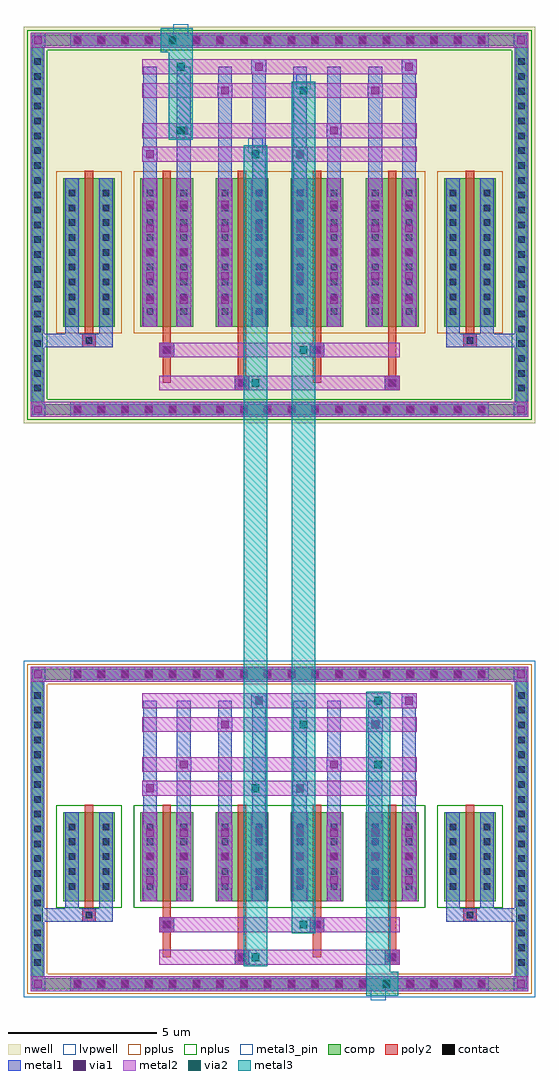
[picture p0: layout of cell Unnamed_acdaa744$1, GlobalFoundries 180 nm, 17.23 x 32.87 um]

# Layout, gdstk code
import gdstk
lib = gdstk.Library(unit=1e-6, precision=5e-09)
def R(c, l, rs):  # rectangles x0, y0, x1, y1
    for r in rs: c.add(gdstk.rectangle(r[:2], r[2:], *l))
def A(c, l, x, y, w, h, nx, ny, dx, dy):  # array of equal rectangles
    R(c, l, [(x+i*dx, y+j*dy, x+i*dx+w, y+j*dy+h) for i in range(nx) for j in range(ny)])
def P(c, l, *ps):  # polygons
    for p in ps: c.add(gdstk.Polygon(p, *l))
nwell = (21, 0)
comp = (22, 0)
poly2 = (30, 0)
pplus = (31, 0)
nplus = (32, 0)
contact = (33, 0)
metal1 = (34, 0)
via1 = (35, 0)
metal2 = (36, 0)
via2 = (38, 0)
metal3 = (42, 0)
metal3_pin = (42, 10)
lvpwell = (204, 0)

compass_65197a3d = lib.new_cell('compass_65197a3d')
R(compass_65197a3d, metal3_pin, [(-0.25,-0.25,0.25,0.25)])

unnamed_4f262400 = lib.new_cell('Unnamed_4f262400')
unnamed_4f262400.add(gdstk.Reference(compass_65197a3d, (0,0)))
unnamed_4f262400.add(gdstk.Label('VRECT', (0,0), layer=42, texttype=10))

compass_65197a3d_1 = lib.new_cell('compass_65197a3d$1')
R(compass_65197a3d_1, metal3_pin, [(-0.25,-0.25,0.25,0.25)])

unnamed_11ae1ce9 = lib.new_cell('Unnamed_11ae1ce9')
unnamed_11ae1ce9.add(gdstk.Reference(compass_65197a3d_1, (0,0)))
unnamed_11ae1ce9.add(gdstk.Label('RFP', (0,0), layer=42, texttype=10))

compass_65197a3d_2 = lib.new_cell('compass_65197a3d$2')
R(compass_65197a3d_2, metal3_pin, [(-0.25,-0.25,0.25,0.25)])

unnamed_9e714f1f = lib.new_cell('Unnamed_9e714f1f')
unnamed_9e714f1f.add(gdstk.Reference(compass_65197a3d_2, (0,0)))
unnamed_9e714f1f.add(gdstk.Label('RFN', (0,0), layer=42, texttype=10))

compass_65197a3d_3 = lib.new_cell('compass_65197a3d$3')
R(compass_65197a3d_3, metal3_pin, [(-0.25,-0.25,0.25,0.25)])

unnamed_890781a2 = lib.new_cell('Unnamed_890781a2')
unnamed_890781a2.add(gdstk.Reference(compass_65197a3d_3, (0,0)))
unnamed_890781a2.add(gdstk.Label('VSS', (0,0), layer=42, texttype=10))

unnamed_acdaa744_1 = lib.new_cell('Unnamed_acdaa744$1')
R(unnamed_acdaa744_1, nwell, [(-8.615,13.67,8.615,27.02), (-8.455,13.83,8.455,26.86)])
A(unnamed_acdaa744_1, comp, -6.98, -5.39, 0.36, 0.36, 18, 2, 0.8, 10.42)
A(unnamed_acdaa744_1, comp, -8.335, -4.68, 0.36, 0.36, 1, 19, 0, 0.5)
A(unnamed_acdaa744_1, comp, 7.975, -4.68, 0.36, 0.36, 1, 19, 0, 0.5)
A(unnamed_acdaa744_1, comp, -4.685, -2.43, 1.78, 3, 4, 1, 2.53, 0)
A(unnamed_acdaa744_1, comp, -6.98, 13.95, 0.36, 0.36, 18, 2, 0.8, 12.43)
A(unnamed_acdaa744_1, comp, -8.335, 14.665, 0.36, 0.36, 1, 23, 0, 0.5)
A(unnamed_acdaa744_1, comp, 7.975, 14.665, 0.36, 0.36, 1, 23, 0, 0.5)
A(unnamed_acdaa744_1, comp, -4.685, 16.92, 1.78, 5, 4, 1, 2.53, 0)
R(unnamed_acdaa744_1, comp, [(-6.98,-5.39,6.98,-5.03), (-8.335,-4.68,-7.975,4.68), (7.975,-4.68,8.335,4.68), (-7.285,-2.43,-5.545,0.57), (5.545,-2.43,7.285,0.57), (-6.98,5.03,6.98,5.39), (-6.98,13.95,6.98,14.31), (-8.335,14.665,-7.975,26.025), (7.975,14.665,8.335,26.025), (-7.285,16.92,-5.545,21.92), (5.545,16.92,7.285,21.92), (-6.98,26.38,6.98,26.74)])
P(unnamed_acdaa744_1, comp, [(8.335,26.74),(-8.335,26.74),(-8.335,14.31),(-7.975,14.31),(-7.975,26.38),(7.975,26.38),(7.975,14.31),(-7.975,14.31),(-8.335,14.31),(-8.335,13.95),(8.335,13.95)],
  [(8.335,5.39),(-8.335,5.39),(-8.335,-5.03),(-7.975,-5.03),(-7.975,5.03),(7.975,5.03),(7.975,-5.03),(-7.975,-5.03),(-8.335,-5.03),(-8.335,-5.39),(8.335,-5.39)])
A(unnamed_acdaa744_1, poly2, -3.935, -2.67, 0.28, 3.48, 4, 1, 2.53, 0)
A(unnamed_acdaa744_1, poly2, -3.935, 16.68, 0.28, 5.48, 4, 1, 2.53, 0)
R(unnamed_acdaa744_1, poly2, [(-1.515,-4.57,-1.015,-4.07), (3.545,-4.57,4.045,-4.07), (-1.445,-4.5,-1.085,-4.14), (3.615,-4.5,3.975,-4.14), (-3.935,-4.32,-3.655,-2.67), (1.125,-4.32,1.405,-2.67), (-1.405,-4.07,-1.125,-2.67), (3.655,-4.07,3.935,-2.67), (-4.045,-3.47,-3.545,-2.97), (1.015,-3.47,1.515,-2.97), (-3.975,-3.4,-3.615,-3.04), (1.085,-3.4,1.445,-3.04), (-6.645,-3.13,-6.185,-2.67), (6.185,-3.13,6.645,-2.67), (-6.595,-3.08,-6.235,-2.72), (6.235,-3.08,6.595,-2.72), (-3.935,-2.97,-3.655,-2.67), (1.125,-2.97,1.405,-2.67), (-6.555,-2.67,-6.275,0.81), (6.275,-2.67,6.555,0.81), (-1.515,14.77,-1.015,15.27), (3.545,14.77,4.045,15.27), (-1.445,14.84,-1.085,15.2), (3.615,14.84,3.975,15.2), (-3.935,15.02,-3.655,16.68), (1.125,15.02,1.405,16.68), (-1.405,15.27,-1.125,16.68), (3.655,15.27,3.935,16.68), (-4.045,15.88,-3.545,16.38), (1.015,15.88,1.515,16.38), (-3.975,15.95,-3.615,16.31), (1.085,15.95,1.445,16.31), (-6.645,16.22,-6.185,16.68), (6.185,16.22,6.645,16.68), (-6.595,16.27,-6.235,16.63), (6.235,16.27,6.595,16.63), (-3.935,16.38,-3.655,16.68), (1.125,16.38,1.405,16.68), (-6.555,16.68,-6.275,22.16), (6.275,16.68,6.555,22.16)])
A(unnamed_acdaa744_1, pplus, -4.915, 16.69, 2.24, 5.46, 4, 1, 2.53, 0)
R(unnamed_acdaa744_1, pplus, [(-7.515,16.69,-5.315,22.15), (-4.915,16.69,4.915,22.15), (5.315,16.69,7.515,22.15)])
P(unnamed_acdaa744_1, pplus, [(8.495,5.55),(-8.495,5.55),(-8.495,-4.87),(-7.815,-4.87),(-7.815,4.87),(7.815,4.87),(7.815,-4.87),(-7.815,-4.87),(-8.495,-4.87),(-8.495,-5.55),(8.495,-5.55)])
A(unnamed_acdaa744_1, nplus, -4.915, -2.66, 2.24, 3.46, 4, 1, 2.53, 0)
R(unnamed_acdaa744_1, nplus, [(-7.515,-2.66,-5.315,0.8), (-4.915,-2.66,4.915,0.8), (5.315,-2.66,7.515,0.8)])
P(unnamed_acdaa744_1, nplus, [(8.495,26.9),(-8.495,26.9),(-8.495,14.47),(-7.815,14.47),(-7.815,26.22),(7.815,26.22),(7.815,14.47),(-7.815,14.47),(-8.495,14.47),(-8.495,13.79),(8.495,13.79)])
A(unnamed_acdaa744_1, contact, -6.91, -5.32, 0.22, 0.22, 18, 2, 0.8, 10.42)
A(unnamed_acdaa744_1, contact, -8.265, -4.61, 0.22, 0.22, 1, 19, 0, 0.5)
A(unnamed_acdaa744_1, contact, 8.045, -4.61, 0.22, 0.22, 1, 19, 0, 0.5)
A(unnamed_acdaa744_1, contact, -7.095, -2.04, 0.22, 0.22, 1, 5, 0, 0.5)
A(unnamed_acdaa744_1, contact, -5.955, -2.04, 0.22, 0.22, 1, 5, 0, 0.5)
A(unnamed_acdaa744_1, contact, -4.475, -2.04, 0.22, 0.22, 1, 5, 0, 0.5)
A(unnamed_acdaa744_1, contact, -3.335, -2.04, 0.22, 0.22, 1, 5, 0, 0.5)
A(unnamed_acdaa744_1, contact, -1.945, -2.04, 0.22, 0.22, 1, 5, 0, 0.5)
A(unnamed_acdaa744_1, contact, -0.805, -2.04, 0.22, 0.22, 1, 5, 0, 0.5)
A(unnamed_acdaa744_1, contact, 0.585, -2.04, 0.22, 0.22, 1, 5, 0, 0.5)
A(unnamed_acdaa744_1, contact, 1.725, -2.04, 0.22, 0.22, 1, 5, 0, 0.5)
A(unnamed_acdaa744_1, contact, 3.115, -2.04, 0.22, 0.22, 1, 5, 0, 0.5)
A(unnamed_acdaa744_1, contact, 4.255, -2.04, 0.22, 0.22, 1, 5, 0, 0.5)
A(unnamed_acdaa744_1, contact, 5.735, -2.04, 0.22, 0.22, 1, 5, 0, 0.5)
A(unnamed_acdaa744_1, contact, 6.875, -2.04, 0.22, 0.22, 1, 5, 0, 0.5)
A(unnamed_acdaa744_1, contact, -6.91, 14.02, 0.22, 0.22, 18, 2, 0.8, 12.43)
A(unnamed_acdaa744_1, contact, -8.265, 14.735, 0.22, 0.22, 1, 23, 0, 0.5)
A(unnamed_acdaa744_1, contact, 8.045, 14.735, 0.22, 0.22, 1, 23, 0, 0.5)
A(unnamed_acdaa744_1, contact, -7.095, 17.31, 0.22, 0.22, 1, 9, 0, 0.5)
A(unnamed_acdaa744_1, contact, -5.955, 17.31, 0.22, 0.22, 1, 9, 0, 0.5)
A(unnamed_acdaa744_1, contact, -4.475, 17.31, 0.22, 0.22, 1, 9, 0, 0.5)
A(unnamed_acdaa744_1, contact, -3.335, 17.31, 0.22, 0.22, 1, 9, 0, 0.5)
A(unnamed_acdaa744_1, contact, -1.945, 17.31, 0.22, 0.22, 1, 9, 0, 0.5)
A(unnamed_acdaa744_1, contact, -0.805, 17.31, 0.22, 0.22, 1, 9, 0, 0.5)
A(unnamed_acdaa744_1, contact, 0.585, 17.31, 0.22, 0.22, 1, 9, 0, 0.5)
A(unnamed_acdaa744_1, contact, 1.725, 17.31, 0.22, 0.22, 1, 9, 0, 0.5)
A(unnamed_acdaa744_1, contact, 3.115, 17.31, 0.22, 0.22, 1, 9, 0, 0.5)
A(unnamed_acdaa744_1, contact, 4.255, 17.31, 0.22, 0.22, 1, 9, 0, 0.5)
A(unnamed_acdaa744_1, contact, 5.735, 17.31, 0.22, 0.22, 1, 9, 0, 0.5)
A(unnamed_acdaa744_1, contact, 6.875, 17.31, 0.22, 0.22, 1, 9, 0, 0.5)
R(unnamed_acdaa744_1, contact, [(-1.375,-4.43,-1.155,-4.21), (3.685,-4.43,3.905,-4.21), (-3.905,-3.33,-3.685,-3.11), (1.155,-3.33,1.375,-3.11), (-6.525,-3.01,-6.305,-2.79), (6.305,-3.01,6.525,-2.79), (-1.375,14.91,-1.155,15.13), (3.685,14.91,3.905,15.13), (-3.905,16.02,-3.685,16.24), (1.155,16.02,1.375,16.24), (-6.525,16.34,-6.305,16.56), (6.305,16.34,6.525,16.56)])
A(unnamed_acdaa744_1, metal1, -7.05, -5.46, 0.5, 0.5, 18, 2, 0.8, 10.42)
A(unnamed_acdaa744_1, metal1, -8.385, -4.73, 0.46, 0.46, 1, 19, 0, 0.5)
A(unnamed_acdaa744_1, metal1, 7.925, -4.73, 0.46, 0.46, 1, 19, 0, 0.5)
A(unnamed_acdaa744_1, metal1, -7.215, -2.16, 0.46, 0.46, 1, 5, 0, 0.5)
A(unnamed_acdaa744_1, metal1, -6.075, -2.16, 0.46, 0.46, 1, 5, 0, 0.5)
A(unnamed_acdaa744_1, metal1, -4.595, -2.16, 0.46, 0.46, 1, 5, 0, 0.5)
A(unnamed_acdaa744_1, metal1, -3.455, -2.16, 0.46, 0.46, 1, 5, 0, 0.5)
A(unnamed_acdaa744_1, metal1, -2.065, -2.16, 0.46, 0.46, 1, 5, 0, 0.5)
A(unnamed_acdaa744_1, metal1, -0.925, -2.16, 0.46, 0.46, 1, 5, 0, 0.5)
A(unnamed_acdaa744_1, metal1, 0.465, -2.16, 0.46, 0.46, 1, 5, 0, 0.5)
A(unnamed_acdaa744_1, metal1, 1.605, -2.16, 0.46, 0.46, 1, 5, 0, 0.5)
A(unnamed_acdaa744_1, metal1, 2.995, -2.16, 0.46, 0.46, 1, 5, 0, 0.5)
A(unnamed_acdaa744_1, metal1, 4.135, -2.16, 0.46, 0.46, 1, 5, 0, 0.5)
A(unnamed_acdaa744_1, metal1, 5.615, -2.16, 0.46, 0.46, 1, 5, 0, 0.5)
A(unnamed_acdaa744_1, metal1, 6.755, -2.16, 0.46, 0.46, 1, 5, 0, 0.5)
A(unnamed_acdaa744_1, metal1, -4.615, -1.98, 0.5, 0.5, 1, 3, 0, 0.8)
A(unnamed_acdaa744_1, metal1, -3.475, -1.98, 0.5, 0.5, 1, 3, 0, 0.8)
A(unnamed_acdaa744_1, metal1, -2.085, -1.98, 0.5, 0.5, 1, 3, 0, 0.8)
A(unnamed_acdaa744_1, metal1, -0.945, -1.98, 0.5, 0.5, 1, 3, 0, 0.8)
A(unnamed_acdaa744_1, metal1, 0.445, -1.98, 0.5, 0.5, 1, 3, 0, 0.8)
A(unnamed_acdaa744_1, metal1, 1.585, -1.98, 0.5, 0.5, 1, 3, 0, 0.8)
A(unnamed_acdaa744_1, metal1, 2.975, -1.98, 0.5, 0.5, 1, 3, 0, 0.8)
A(unnamed_acdaa744_1, metal1, 4.115, -1.98, 0.5, 0.5, 1, 3, 0, 0.8)
A(unnamed_acdaa744_1, metal1, -7.05, 13.88, 0.5, 0.5, 18, 2, 0.8, 12.43)
A(unnamed_acdaa744_1, metal1, -8.385, 14.615, 0.46, 0.46, 1, 23, 0, 0.5)
A(unnamed_acdaa744_1, metal1, 7.925, 14.615, 0.46, 0.46, 1, 23, 0, 0.5)
A(unnamed_acdaa744_1, metal1, -7.215, 17.19, 0.46, 0.46, 1, 9, 0, 0.5)
A(unnamed_acdaa744_1, metal1, -6.075, 17.19, 0.46, 0.46, 1, 9, 0, 0.5)
A(unnamed_acdaa744_1, metal1, -4.595, 17.19, 0.46, 0.46, 1, 9, 0, 0.5)
A(unnamed_acdaa744_1, metal1, -3.455, 17.19, 0.46, 0.46, 1, 9, 0, 0.5)
A(unnamed_acdaa744_1, metal1, -2.065, 17.19, 0.46, 0.46, 1, 9, 0, 0.5)
A(unnamed_acdaa744_1, metal1, -0.925, 17.19, 0.46, 0.46, 1, 9, 0, 0.5)
A(unnamed_acdaa744_1, metal1, 0.465, 17.19, 0.46, 0.46, 1, 9, 0, 0.5)
A(unnamed_acdaa744_1, metal1, 1.605, 17.19, 0.46, 0.46, 1, 9, 0, 0.5)
A(unnamed_acdaa744_1, metal1, 2.995, 17.19, 0.46, 0.46, 1, 9, 0, 0.5)
A(unnamed_acdaa744_1, metal1, 4.135, 17.19, 0.46, 0.46, 1, 9, 0, 0.5)
A(unnamed_acdaa744_1, metal1, 5.615, 17.19, 0.46, 0.46, 1, 9, 0, 0.5)
A(unnamed_acdaa744_1, metal1, 6.755, 17.19, 0.46, 0.46, 1, 9, 0, 0.5)
A(unnamed_acdaa744_1, metal1, -4.615, 17.57, 0.5, 0.5, 1, 5, 0, 0.8)
A(unnamed_acdaa744_1, metal1, -3.475, 17.57, 0.5, 0.5, 1, 5, 0, 0.8)
A(unnamed_acdaa744_1, metal1, -2.085, 17.57, 0.5, 0.5, 1, 5, 0, 0.8)
A(unnamed_acdaa744_1, metal1, -0.945, 17.57, 0.5, 0.5, 1, 5, 0, 0.8)
A(unnamed_acdaa744_1, metal1, 0.445, 17.57, 0.5, 0.5, 1, 5, 0, 0.8)
A(unnamed_acdaa744_1, metal1, 1.585, 17.57, 0.5, 0.5, 1, 5, 0, 0.8)
A(unnamed_acdaa744_1, metal1, 2.975, 17.57, 0.5, 0.5, 1, 5, 0, 0.8)
A(unnamed_acdaa744_1, metal1, 4.115, 17.57, 0.5, 0.5, 1, 5, 0, 0.8)
R(unnamed_acdaa744_1, metal1, [(-8.385,-5.46,-7.885,-4.96), (-8.385,-5.46,-7.885,-4.96), (-8.385,-5.46,-7.925,-5.03), (-7.05,-5.46,7.05,-4.96), (7.885,-5.46,8.385,-4.96), (7.885,-5.46,8.385,-4.96), (7.925,-5.46,8.385,-5.03), (-8.385,-5.03,-7.925,5.03), (7.925,-5.03,8.385,5.03), (-1.515,-4.57,-1.015,-4.07), (3.545,-4.57,4.045,-4.07), (-4.045,-3.47,-3.545,-2.97), (1.015,-3.47,1.515,-2.97), (-8.385,-3.13,-6.645,-2.67), (-7.215,-3.13,-6.645,-2.67), (-7.215,-3.13,-6.755,-2.43), (-6.645,-3.13,-6.185,-2.67), (-6.185,-3.13,-5.615,-2.67), (-6.075,-3.13,-5.615,-2.43), (5.615,-3.13,6.185,-2.67), (5.615,-3.13,6.075,-2.43), (6.185,-3.13,6.645,-2.67), (6.645,-3.13,7.215,-2.67), (6.645,-3.13,8.385,-2.67), (6.755,-3.13,7.215,-2.43), (-7.215,-2.43,-6.755,0.57), (-6.075,-2.43,-5.615,0.57), (-4.595,-2.43,-4.135,0.57), (-3.455,-2.43,-2.995,0.57), (-2.065,-2.43,-1.605,0.57), (-0.925,-2.43,-0.465,0.57), (0.465,-2.43,0.925,0.57), (1.605,-2.43,2.065,0.57), (2.995,-2.43,3.455,0.57), (4.135,-2.43,4.595,0.57), (5.615,-2.43,6.075,0.57), (6.755,-2.43,7.215,0.57), (-4.615,-1.98,-4.115,0.12), (-3.475,-1.98,-2.975,0.12), (-2.085,-1.98,-1.585,0.12), (-0.945,-1.98,-0.445,0.12), (0.445,-1.98,0.945,0.12), (1.585,-1.98,2.085,0.12), (2.975,-1.98,3.475,0.12), (4.115,-1.98,4.615,0.12), (-4.595,0.57,-4.135,1.62), (-4.595,0.57,-4.135,4.32), (-3.455,0.57,-2.995,2.42), (-3.455,0.57,-2.995,4.32), (-2.065,0.57,-1.605,3.77), (-2.065,0.57,-1.605,4.32), (-0.925,0.57,-0.465,4.57), (-0.925,0.57,-0.465,4.32), (0.465,0.57,0.925,1.62), (0.465,0.57,0.925,4.32), (1.605,0.57,2.065,2.42), (1.605,0.57,2.065,4.32), (2.995,0.57,3.455,3.77), (2.995,0.57,3.455,4.32), (4.135,0.57,4.595,4.57), (4.135,0.57,4.595,4.32), (-4.615,1.12,-4.115,1.62), (0.445,1.12,0.945,1.62), (-3.475,1.92,-2.975,2.42), (1.585,1.92,2.085,2.42), (-2.085,3.27,-1.585,3.77), (2.975,3.27,3.475,3.77), (-0.945,4.07,-0.445,4.57), (4.115,4.07,4.615,4.57), (-8.385,4.96,-7.885,5.46), (-8.385,4.96,-7.885,5.46), (-7.05,4.96,7.05,5.46), (7.885,4.96,8.385,5.46), (7.885,4.96,8.385,5.46), (-8.385,5.03,-7.925,5.46), (7.925,5.03,8.385,5.46), (-8.385,13.88,-7.885,14.38), (-8.385,13.88,-7.885,14.38), (-8.385,13.88,-7.925,14.31), (-7.05,13.88,7.05,14.38), (7.885,13.88,8.385,14.38), (7.885,13.88,8.385,14.38), (7.925,13.88,8.385,14.31), (-8.385,14.31,-7.925,26.38), (7.925,14.31,8.385,26.38), (-1.515,14.77,-1.015,15.27), (3.545,14.77,4.045,15.27), (-4.045,15.88,-3.545,16.38), (1.015,15.88,1.515,16.38), (-8.385,16.22,-6.645,16.68), (-7.215,16.22,-6.645,16.68), (-7.215,16.22,-6.755,16.92), (-6.645,16.22,-6.185,16.68), (-6.185,16.22,-5.615,16.68), (-6.075,16.22,-5.615,16.92), (5.615,16.22,6.185,16.68), (5.615,16.22,6.075,16.92), (6.185,16.22,6.645,16.68), (6.645,16.22,7.215,16.68), (6.645,16.22,8.385,16.68), (6.755,16.22,7.215,16.92), (-7.215,16.92,-6.755,21.92), (-6.075,16.92,-5.615,21.92), (-4.595,16.92,-4.135,21.92), (-3.455,16.92,-2.995,21.92), (-2.065,16.92,-1.605,21.92), (-0.925,16.92,-0.465,21.92), (0.465,16.92,0.925,21.92), (1.605,16.92,2.065,21.92), (2.995,16.92,3.455,21.92), (4.135,16.92,4.595,21.92), (5.615,16.92,6.075,21.92), (6.755,16.92,7.215,21.92), (-4.615,17.57,-4.115,21.27), (-3.475,17.57,-2.975,21.27), (-2.085,17.57,-1.585,21.27), (-0.945,17.57,-0.445,21.27), (0.445,17.57,0.945,21.27), (1.585,17.57,2.085,21.27), (2.975,17.57,3.475,21.27), (4.115,17.57,4.615,21.27), (-4.595,21.92,-4.135,22.97), (-4.595,21.92,-4.135,25.67), (-3.455,21.92,-2.995,23.77), (-3.455,21.92,-2.995,25.67), (-2.065,21.92,-1.605,25.12), (-2.065,21.92,-1.605,25.67), (-0.925,21.92,-0.465,25.92), (-0.925,21.92,-0.465,25.67), (0.465,21.92,0.925,22.97), (0.465,21.92,0.925,25.67), (1.605,21.92,2.065,23.77), (1.605,21.92,2.065,25.67), (2.995,21.92,3.455,25.12), (2.995,21.92,3.455,25.67), (4.135,21.92,4.595,25.92), (4.135,21.92,4.595,25.67), (-4.615,22.47,-4.115,22.97), (0.445,22.47,0.945,22.97), (-3.475,23.27,-2.975,23.77), (1.585,23.27,2.085,23.77), (-2.085,24.62,-1.585,25.12), (2.975,24.62,3.475,25.12), (-0.945,25.42,-0.445,25.92), (4.115,25.42,4.615,25.92), (-8.385,26.31,-7.885,26.81), (-8.385,26.31,-7.885,26.81), (-7.05,26.31,7.05,26.81), (7.885,26.31,8.385,26.81), (7.885,26.31,8.385,26.81), (-8.385,26.38,-7.925,26.81), (7.925,26.38,8.385,26.81)])
A(unnamed_acdaa744_1, via1, -6.93, -5.34, 0.26, 0.26, 18, 2, 0.8, 10.42)
A(unnamed_acdaa744_1, via1, -4.495, -1.86, 0.26, 0.26, 1, 3, 0, 0.8)
A(unnamed_acdaa744_1, via1, -3.355, -1.86, 0.26, 0.26, 1, 3, 0, 0.8)
A(unnamed_acdaa744_1, via1, -1.965, -1.86, 0.26, 0.26, 1, 3, 0, 0.8)
A(unnamed_acdaa744_1, via1, -0.825, -1.86, 0.26, 0.26, 1, 3, 0, 0.8)
A(unnamed_acdaa744_1, via1, 0.565, -1.86, 0.26, 0.26, 1, 3, 0, 0.8)
A(unnamed_acdaa744_1, via1, 1.705, -1.86, 0.26, 0.26, 1, 3, 0, 0.8)
A(unnamed_acdaa744_1, via1, 3.095, -1.86, 0.26, 0.26, 1, 3, 0, 0.8)
A(unnamed_acdaa744_1, via1, 4.235, -1.86, 0.26, 0.26, 1, 3, 0, 0.8)
A(unnamed_acdaa744_1, via1, -6.93, 14, 0.26, 0.26, 18, 2, 0.8, 12.43)
A(unnamed_acdaa744_1, via1, -4.495, 17.69, 0.26, 0.26, 1, 5, 0, 0.8)
A(unnamed_acdaa744_1, via1, -3.355, 17.69, 0.26, 0.26, 1, 5, 0, 0.8)
A(unnamed_acdaa744_1, via1, -1.965, 17.69, 0.26, 0.26, 1, 5, 0, 0.8)
A(unnamed_acdaa744_1, via1, -0.825, 17.69, 0.26, 0.26, 1, 5, 0, 0.8)
A(unnamed_acdaa744_1, via1, 0.565, 17.69, 0.26, 0.26, 1, 5, 0, 0.8)
A(unnamed_acdaa744_1, via1, 1.705, 17.69, 0.26, 0.26, 1, 5, 0, 0.8)
A(unnamed_acdaa744_1, via1, 3.095, 17.69, 0.26, 0.26, 1, 5, 0, 0.8)
A(unnamed_acdaa744_1, via1, 4.235, 17.69, 0.26, 0.26, 1, 5, 0, 0.8)
R(unnamed_acdaa744_1, via1, [(-8.265,-5.34,-8.005,-5.08), (8.005,-5.34,8.265,-5.08), (-1.395,-4.45,-1.135,-4.19), (3.665,-4.45,3.925,-4.19), (-3.925,-3.35,-3.665,-3.09), (1.135,-3.35,1.395,-3.09), (-4.495,1.24,-4.235,1.5), (0.565,1.24,0.825,1.5), (-3.355,2.04,-3.095,2.3), (1.705,2.04,1.965,2.3), (-1.965,3.39,-1.705,3.65), (3.095,3.39,3.355,3.65), (-0.825,4.19,-0.565,4.45), (4.235,4.19,4.495,4.45), (-8.265,5.08,-8.005,5.34), (8.005,5.08,8.265,5.34), (-8.265,14,-8.005,14.26), (8.005,14,8.265,14.26), (-1.395,14.89,-1.135,15.15), (3.665,14.89,3.925,15.15), (-3.925,16,-3.665,16.26), (1.135,16,1.395,16.26), (-4.495,22.59,-4.235,22.85), (0.565,22.59,0.825,22.85), (-3.355,23.39,-3.095,23.65), (1.705,23.39,1.965,23.65), (-1.965,24.74,-1.705,25), (3.095,24.74,3.355,25), (-0.825,25.54,-0.565,25.8), (4.235,25.54,4.495,25.8), (-8.265,26.43,-8.005,26.69), (8.005,26.43,8.265,26.69)])
A(unnamed_acdaa744_1, metal2, -7.05, -5.46, 0.5, 0.5, 14, 1, 0.8, 0)
A(unnamed_acdaa744_1, metal2, 3.35, -5.46, 0.5, 0.5, 5, 1, 0.8, 0)
A(unnamed_acdaa744_1, metal2, -4.615, -1.98, 0.5, 0.5, 1, 3, 0, 0.8)
A(unnamed_acdaa744_1, metal2, -3.475, -1.98, 0.5, 0.5, 1, 3, 0, 0.8)
A(unnamed_acdaa744_1, metal2, -2.085, -1.98, 0.5, 0.5, 1, 3, 0, 0.8)
A(unnamed_acdaa744_1, metal2, -0.945, -1.98, 0.5, 0.5, 1, 3, 0, 0.8)
A(unnamed_acdaa744_1, metal2, 0.445, -1.98, 0.5, 0.5, 1, 3, 0, 0.8)
A(unnamed_acdaa744_1, metal2, 1.585, -1.98, 0.5, 0.5, 1, 3, 0, 0.8)
A(unnamed_acdaa744_1, metal2, 2.975, -1.98, 0.5, 0.5, 1, 3, 0, 0.8)
A(unnamed_acdaa744_1, metal2, 4.115, -1.98, 0.5, 0.5, 1, 3, 0, 0.8)
A(unnamed_acdaa744_1, metal2, -7.05, 4.96, 0.5, 0.5, 18, 2, 0.8, 8.92)
A(unnamed_acdaa744_1, metal2, -4.615, 17.57, 0.5, 0.5, 1, 5, 0, 0.8)
A(unnamed_acdaa744_1, metal2, -3.475, 17.57, 0.5, 0.5, 1, 5, 0, 0.8)
A(unnamed_acdaa744_1, metal2, -2.085, 17.57, 0.5, 0.5, 1, 5, 0, 0.8)
A(unnamed_acdaa744_1, metal2, -0.945, 17.57, 0.5, 0.5, 1, 5, 0, 0.8)
A(unnamed_acdaa744_1, metal2, 0.445, 17.57, 0.5, 0.5, 1, 5, 0, 0.8)
A(unnamed_acdaa744_1, metal2, 1.585, 17.57, 0.5, 0.5, 1, 5, 0, 0.8)
A(unnamed_acdaa744_1, metal2, 2.975, 17.57, 0.5, 0.5, 1, 5, 0, 0.8)
A(unnamed_acdaa744_1, metal2, 4.115, 17.57, 0.5, 0.5, 1, 5, 0, 0.8)
A(unnamed_acdaa744_1, metal2, -7.05, 26.31, 0.5, 0.5, 5, 1, 0.8, 0)
A(unnamed_acdaa744_1, metal2, -3.85, 26.31, 0.5, 0.5, 14, 1, 0.8, 0)
R(unnamed_acdaa744_1, metal2, [(-8.385,-5.46,-7.885,-4.96), (-8.385,-5.46,-7.885,-4.96), (-8.385,-5.46,-7.975,-4.96), (-7.975,-5.46,7.975,-4.96), (7.885,-5.46,8.385,-4.96), (7.885,-5.46,8.385,-4.96), (7.975,-5.46,8.385,-4.96), (-4.045,-4.57,4.045,-4.07), (-1.515,-4.57,-1.015,-4.07), (-1.515,-4.57,-1.015,-4.07), (-1.06,-4.57,-0.56,-4.07), (3.545,-4.57,4.045,-4.07), (3.545,-4.57,4.045,-4.07), (-4.045,-3.47,-3.545,-2.97), (-4.045,-3.47,-3.545,-2.97), (-4.045,-3.47,4.045,-2.97), (0.56,-3.47,1.06,-2.97), (1.015,-3.47,1.515,-2.97), (1.015,-3.47,1.515,-2.97), (-4.615,-2.43,-4.115,0.57), (-3.475,-2.43,-2.975,0.57), (-2.085,-2.43,-1.585,0.57), (-0.945,-2.43,-0.445,0.57), (0.445,-2.43,0.945,0.57), (1.585,-2.43,2.085,0.57), (2.975,-2.43,3.475,0.57), (4.115,-2.43,4.615,0.57), (-4.615,1.12,-4.115,1.62), (-4.615,1.12,-2.975,1.62), (-4.615,1.12,4.615,1.62), (-1.06,1.12,-0.56,1.62), (0.445,1.12,0.945,1.62), (0.445,1.12,2.085,1.62), (-4.615,1.92,-2.975,2.42), (-4.615,1.92,4.615,2.42), (-3.475,1.92,-2.975,2.42), (0.445,1.92,2.085,2.42), (1.585,1.92,2.085,2.42), (3.075,1.92,3.575,2.42), (-4.615,3.27,4.615,3.77), (-2.085,3.27,-1.585,3.77), (-2.085,3.27,-0.445,3.77), (0.56,3.27,1.06,3.77), (2.975,3.27,3.475,3.77), (2.975,3.27,4.615,3.77), (-4.615,4.07,4.615,4.57), (-2.085,4.07,-0.445,4.57), (-0.945,4.07,-0.445,4.57), (2.975,4.07,4.615,4.57), (3.075,4.07,3.575,4.57), (4.115,4.07,4.615,4.57), (-8.385,4.96,-7.885,5.46), (-8.385,4.96,-7.885,5.46), (-8.385,4.96,-7.975,5.46), (-7.975,4.96,7.975,5.46), (7.885,4.96,8.385,5.46), (7.885,4.96,8.385,5.46), (7.975,4.96,8.385,5.46), (-8.385,13.88,-7.885,14.38), (-8.385,13.88,-7.885,14.38), (-8.385,13.88,-7.975,14.38), (-7.975,13.88,7.975,14.38), (7.885,13.88,8.385,14.38), (7.885,13.88,8.385,14.38), (7.975,13.88,8.385,14.38), (-4.045,14.77,4.045,15.27), (-1.515,14.77,-1.015,15.27), (-1.515,14.77,-1.015,15.27), (-1.06,14.77,-0.56,15.27), (3.545,14.77,4.045,15.27), (3.545,14.77,4.045,15.27), (-4.045,15.88,-3.545,16.38), (-4.045,15.88,-3.545,16.38), (-4.045,15.88,4.045,16.38), (0.56,15.88,1.06,16.38), (1.015,15.88,1.515,16.38), (1.015,15.88,1.515,16.38), (-4.615,16.92,-4.115,21.92), (-3.475,16.92,-2.975,21.92), (-2.085,16.92,-1.585,21.92), (-0.945,16.92,-0.445,21.92), (0.445,16.92,0.945,21.92), (1.585,16.92,2.085,21.92), (2.975,16.92,3.475,21.92), (4.115,16.92,4.615,21.92), (-4.615,22.47,-4.115,22.97), (-4.615,22.47,-2.975,22.97), (-4.615,22.47,4.615,22.97), (-1.06,22.47,-0.56,22.97), (0.445,22.47,0.945,22.97), (0.445,22.47,2.085,22.97), (-4.615,23.27,-2.975,23.77), (-4.615,23.27,4.615,23.77), (-3.575,23.27,-3.075,23.77), (-3.475,23.27,-2.975,23.77), (0.445,23.27,2.085,23.77), (1.585,23.27,2.085,23.77), (-4.615,24.62,4.615,25.12), (-2.085,24.62,-1.585,25.12), (-2.085,24.62,-0.445,25.12), (0.56,24.62,1.06,25.12), (2.975,24.62,3.475,25.12), (2.975,24.62,4.615,25.12), (-4.615,25.42,4.615,25.92), (-3.575,25.42,-3.075,25.92), (-2.085,25.42,-0.445,25.92), (-0.945,25.42,-0.445,25.92), (2.975,25.42,4.615,25.92), (4.115,25.42,4.615,25.92), (-8.385,26.31,-7.885,26.81), (-8.385,26.31,-7.885,26.81), (-8.385,26.31,-7.975,26.81), (-7.975,26.31,7.975,26.81), (7.885,26.31,8.385,26.81), (7.885,26.31,8.385,26.81), (7.975,26.31,8.385,26.81)])
R(unnamed_acdaa744_1, via2, [(3.47,-5.34,3.73,-5.08), (-0.94,-4.45,-0.68,-4.19), (0.68,-3.35,0.94,-3.09), (-0.94,1.24,-0.68,1.5), (3.195,2.04,3.455,2.3), (0.68,3.39,0.94,3.65), (3.195,4.19,3.455,4.45), (-0.94,14.89,-0.68,15.15), (0.68,16,0.94,16.26), (-0.94,22.59,-0.68,22.85), (-3.455,23.39,-3.195,23.65), (0.68,24.74,0.94,25), (-3.455,25.54,-3.195,25.8), (-3.73,26.43,-3.47,26.69)])
R(unnamed_acdaa744_1, metal3, [(2.925,-5.61,4,-4.81), (2.925,-5.51,3.725,4.62), (3.35,-5.46,3.85,-4.96), (-1.21,-4.62,-0.41,23.02), (-1.06,-4.57,-0.56,-4.07), (0.41,-3.52,1.21,25.17), (0.56,-3.47,1.06,-2.97), (-1.06,1.12,-0.56,1.62), (3.075,1.92,3.575,2.42), (0.56,3.27,1.06,3.77), (3.075,4.07,3.575,4.57), (-1.06,14.77,-0.56,15.27), (0.56,15.88,1.06,16.38), (-1.06,22.47,-0.56,22.97), (-3.725,23.22,-2.925,26.86), (-3.575,23.27,-3.075,23.77), (0.56,24.62,1.06,25.12), (-3.575,25.42,-3.075,25.92), (-4,26.16,-2.925,26.96), (-3.85,26.31,-3.35,26.81)])
R(unnamed_acdaa744_1, lvpwell, [(-8.615,-5.67,8.615,5.67)])
unnamed_acdaa744_1.add(gdstk.Reference(unnamed_4f262400, (-3.325,26.86)))
unnamed_acdaa744_1.add(gdstk.Reference(unnamed_11ae1ce9, (-0.81,23.02)))
unnamed_acdaa744_1.add(gdstk.Reference(unnamed_9e714f1f, (0.81,25.17)))
unnamed_acdaa744_1.add(gdstk.Reference(unnamed_890781a2, (3.325,-5.51)))

lib.write_gds('Unnamed_acdaa744_1.gds')
